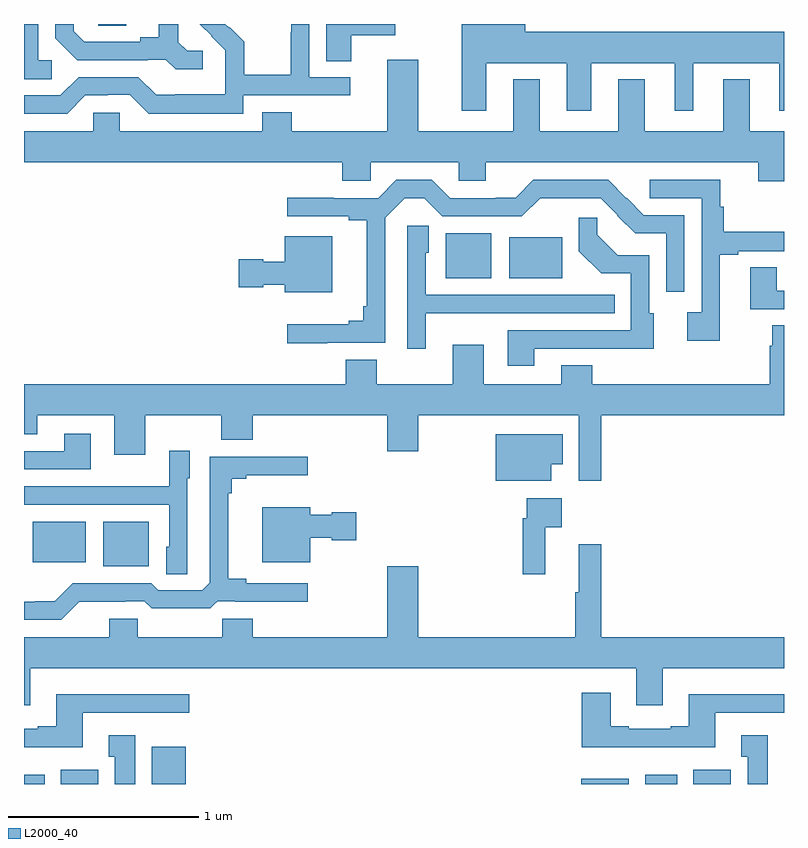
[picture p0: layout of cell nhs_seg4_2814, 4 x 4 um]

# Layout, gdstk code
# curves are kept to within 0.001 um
import gdstk
lib = gdstk.Library(unit=1e-6, precision=1e-09)
def R(c, l, rs):  # rectangles x0, y0, x1, y1
    for r in rs: c.add(gdstk.rectangle(r[:2], r[2:], *l))
def P(c, l, *ps):  # polygons
    for p in ps: c.add(gdstk.Polygon(p, *l))
L2000_40 = (2000, 40)

nhs_seg4_2814 = lib.new_cell('nhs_seg4_2814')
R(nhs_seg4_2814, L2000_40, [(259,774.9,259.108,774.949), (259.193,774.9,259.39,774.976), (259.673,774.9,259.852,775.096), (261.932,774.9,262.183,774.928), (262.271,774.9,262.438,774.949), (262.523,774.9,262.72,774.976), (259.418,776.045,259.657,776.281), (259.046,776.066,259.324,776.281), (261.221,777.563,261.46,777.799), (261.554,777.563,261.832,777.778), (259.392,778.891,259.537,778.9)])
P(nhs_seg4_2814, L2000_40, [(259.942,778.758),(259.86,778.758),(259.813,778.805),(259.813,778.9),(259.709,778.9),(259.709,778.829),(259.613,778.829),(259.613,778.806),(259.318,778.806),(259.261,778.863),(259.261,778.9),(259.164,778.9),(259.164,778.826),(259.28,778.71),(259.652,778.71),(259.652,778.713),(259.746,778.713),(259.798,778.661),(259.942,778.661)],
  [(260.154,778.524),(260.716,778.524),(260.716,778.62),(260.502,778.62),(260.502,778.9),(260.406,778.9),(260.406,778.856),(260.404,778.856),(260.404,778.633),(260.159,778.633),(260.159,778.807),(260.082,778.884),(260.079,778.881),(260.06,778.9),(259.924,778.9),(260.06,778.762),(260.06,778.665),(260.058,778.665),(260.058,778.531),(259.795,778.531),(259.795,778.527),(259.695,778.527),(259.602,778.62),(259.287,778.62),(259.191,778.524),(259,778.524),(259,778.428),(259.227,778.428),(259.323,778.524),(259.442,778.524),(259.442,778.527),(259.557,778.527),(259.657,778.427),(260.154,778.427)],
  [(259.147,778.71),(259.074,778.71),(259.074,778.9),(259,778.9),(259,778.609),(259.147,778.609)],
  [(261.433,778.694),(261.857,778.694),(261.857,778.443),(261.985,778.443),(261.985,778.694),(262.424,778.694),(262.424,778.443),(262.522,778.443),(262.522,778.694),(262.976,778.694),(262.976,778.443),(263,778.443),(263,778.858),(261.637,778.858),(261.637,778.9),(261.305,778.9),(261.305,778.443),(261.433,778.443)],
  [(260.722,778.841),(260.953,778.841),(260.953,778.9),(260.591,778.9),(260.591,778.705),(260.722,778.705)],
  [(263,778.336),(262.819,778.336),(262.819,778.609),(262.679,778.609),(262.679,778.336),(262.267,778.336),(262.267,778.609),(262.127,778.609),(262.127,778.336),(261.715,778.336),(261.715,778.609),(261.575,778.609),(261.575,778.336),(261.076,778.336),(261.076,778.711),(260.912,778.711),(260.912,778.336),(260.408,778.336),(260.408,778.435),(260.255,778.435),(260.255,778.336),(259.503,778.336),(259.503,778.434),(259.365,778.434),(259.365,778.336),(259,778.336),(259,778.172),(260.675,778.172),(260.675,778.074),(260.826,778.074),(260.826,778.172),(261.288,778.172),(261.288,778.074),(261.43,778.074),(261.43,778.172),(262.865,778.172),(262.865,778.073),(263,778.073)],
  [(260.597,777.222),(260.901,777.222),(260.901,777.879),(261.005,777.983),(261.106,777.983),(261.201,777.888),(261.621,777.888),(261.716,777.983),(262.035,777.984),(262.125,777.894),(262.123,777.892),(262.217,777.798),(262.38,777.798),(262.38,777.492),(262.476,777.492),(262.476,777.894),(262.263,777.894),(262.075,778.08),(261.681,778.08),(261.587,777.986),(261.482,777.986),(261.482,777.984),(261.243,777.984),(261.147,778.08),(260.96,778.08),(260.864,777.984),(260.631,777.984),(260.631,777.986),(260.385,777.986),(260.385,777.888),(260.708,777.888),(260.708,777.868),(260.804,777.868),(260.804,777.415),(260.785,777.415),(260.785,777.338),(260.708,777.338),(260.708,777.319),(260.385,777.319),(260.385,777.221)],
  [(262.663,777.685),(262.759,777.685),(262.759,777.705),(263,777.705),(263,777.806),(262.682,777.806),(262.682,777.938),(262.664,777.938),(262.664,778.08),(262.293,778.08),(262.293,777.984),(262.566,777.984),(262.566,777.382),(262.491,777.382),(262.491,777.234),(262.663,777.234)],
  [(261.685,777.192),(262.315,777.191),(262.315,777.378),(262.29,777.378),(262.29,777.684),(262.124,777.684),(262.016,777.792),(262.016,777.88),(261.921,777.88),(261.921,777.704),(262.037,777.588),(262.194,777.588),(262.194,777.288),(261.545,777.288),(261.545,777.102),(261.685,777.102)],
  [(261.115,777.377),(261.449,777.377),(261.449,777.378),(262.109,777.378),(262.109,777.474),(261.114,777.474),(261.114,777.696),(261.13,777.696),(261.13,777.839),(261.018,777.839),(261.018,777.192),(261.115,777.192)],
  [(260.623,777.784),(260.372,777.784),(260.372,777.649),(260.259,777.649),(260.259,777.662),(260.13,777.662),(260.13,777.515),(260.259,777.515),(260.259,777.527),(260.372,777.527),(260.372,777.488),(260.623,777.488)],
  [(263,777.495),(262.963,777.495),(262.963,777.62),(262.823,777.62),(262.823,777.399),(263,777.399)],
  [(263,777.314),(262.937,777.314),(262.937,777.206),(262.925,777.206),(262.925,777.004),(261.991,777.004),(261.991,777.103),(261.827,777.103),(261.827,777.004),(261.421,777.004),(261.421,777.211),(261.257,777.211),(261.257,777.004),(260.857,777.004),(260.857,777.133),(260.693,777.133),(260.693,777.004),(259,777.004),(259,776.741),(259.069,776.741),(259.069,776.84),(259.475,776.84),(259.475,776.634),(259.639,776.634),(259.639,776.84),(260.039,776.84),(260.039,776.712),(260.203,776.712),(260.203,776.84),(260.912,776.84),(260.912,776.652),(261.076,776.652),(261.076,776.84),(261.921,776.84),(261.921,776.496),(262.037,776.496),(262.037,776.84),(263,776.84)],
  [(259.351,776.743),(259.211,776.743),(259.211,776.652),(259,776.652),(259,776.556),(259.351,776.556)],
  [(261.775,776.582),(261.836,776.582),(261.836,776.74),(261.482,776.74),(261.482,776.495),(261.775,776.495)],
  [(259.86,776.508),(259.873,776.508),(259.873,776.653),(259.764,776.653),(259.764,776.467),(259.447,776.467),(259.447,776.466),(259,776.466),(259,776.37),(259.764,776.37),(259.764,776.148),(259.748,776.148),(259.748,776.005),(259.86,776.005)],
  [(259.291,775.859),(259.532,775.859),(259.532,775.863),(259.632,775.863),(259.672,775.824),(259.979,775.824),(260.019,775.863),(260.113,775.863),(260.113,775.859),(260.494,775.859),(260.494,775.956),(260.17,775.956),(260.17,775.979),(260.075,775.979),(260.075,776.429),(260.093,776.429),(260.093,776.506),(260.17,776.506),(260.17,776.525),(260.494,776.525),(260.494,776.622),(259.977,776.622),(259.977,775.959),(259.938,775.92),(259.707,775.92),(259.671,775.956),(259.257,775.956),(259.163,775.862),(259.058,775.862),(259.058,775.86),(259,775.86),(259,775.764),(259.197,775.764)],
  [(261.743,776.252),(261.829,776.252),(261.829,776.404),(261.645,776.404),(261.645,776.3),(261.625,776.3),(261.625,776.004),(261.743,776.004)],
  [(260.506,776.195),(260.619,776.195),(260.619,776.183),(260.749,776.183),(260.749,776.33),(260.619,776.33),(260.619,776.317),(260.506,776.317),(260.506,776.356),(260.255,776.356),(260.255,776.066),(260.506,776.066)],
  [(259.033,775.508),(262.223,775.508),(262.223,775.314),(262.363,775.314),(262.363,775.508),(263,775.508),(263,775.672),(262.037,775.672),(262.037,776.161),(261.92,776.161),(261.92,775.908),(261.901,775.908),(261.901,775.672),(261.076,775.672),(261.076,776.047),(260.912,776.047),(260.912,775.672),(260.204,775.672),(260.204,775.77),(260.044,775.77),(260.044,775.672),(259.599,775.672),(259.599,775.77),(259.448,775.77),(259.448,775.672),(259,775.672),(259,775.314),(259.033,775.314)],
  [(262.639,775.275),(263,775.275),(263,775.372),(262.499,775.372),(262.499,775.204),(262.403,775.204),(262.403,775.191),(262.183,775.191),(262.183,775.204),(262.087,775.204),(262.087,775.381),(261.935,775.381),(261.935,775.094),(262.639,775.094)],
  [(259.309,775.275),(259.87,775.275),(259.87,775.372),(259.169,775.372),(259.169,775.204),(259.073,775.204),(259.073,775.191),(259,775.191),(259,775.094),(259.309,775.094)],
  [(262.915,775.156),(262.775,775.156),(262.775,775.043),(262.808,775.043),(262.808,774.9),(262.915,774.9)],
  [(259.585,775.156),(259.445,775.156),(259.445,775.043),(259.478,775.043),(259.478,774.9),(259.585,774.9)])

lib.write_gds('nhs_seg4_2814.gds')
